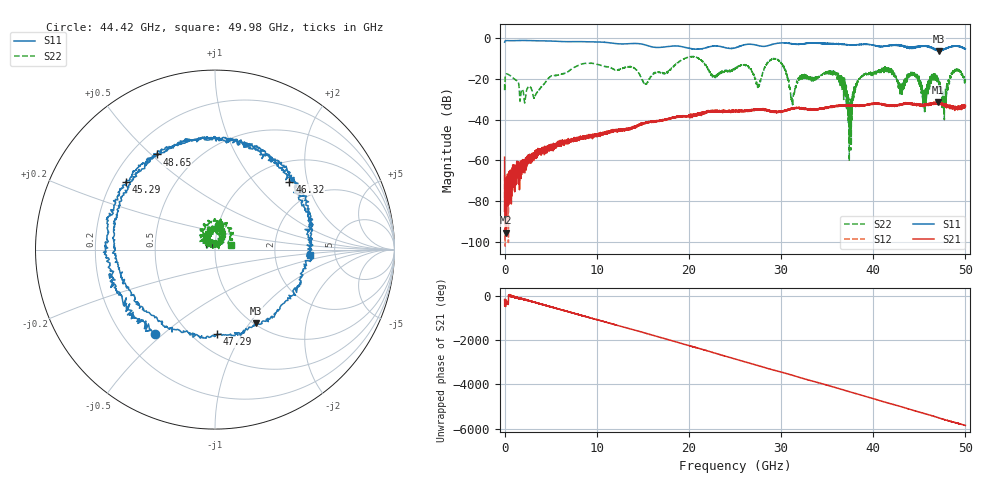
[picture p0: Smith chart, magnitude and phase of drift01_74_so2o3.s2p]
!Created with skrf (http://scikit-rf.org).
# Hz S RI R 50.0
!freq ReS11 ImS11 ReS21 ImS21 ReS12 ImS12 ReS22 ImS22
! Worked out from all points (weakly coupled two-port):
!   10001 points, 300 kHz to 50 GHz, reference 50 ohm
!   highest |S21| = -31.41 dB at 47.04 GHz (marker M1); lowest = -95.3 dB at 120.3 MHz (marker M2)
!   lowest |S11| = -6.5 dB at 47.1 GHz (marker M3), VSWR 2.78, Z = 51.1 - j54 ohm
!   |S11| at or under -10 dB: nowhere
!   |S22| runs from -60.3 to -9.2 dB; largest |S21 - S12| = 0.0034
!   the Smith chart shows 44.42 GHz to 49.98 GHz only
!   S11 on the Smith chart (normalised r, x): 44.42 GHz: 0.33, -0.47; 45.29 GHz: 0.26, +0.31; 46.32 GHz: 1.41, +1.56; 47.29 GHz: 0.65, -0.79; 48.65 GHz: 0.30, +0.52; 49.98 GHz: 3.25, -0.25
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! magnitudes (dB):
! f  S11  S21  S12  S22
! 300 kHz  -2.2  -58.5  -67.3  -22.8
! 120.3 MHz  -1.5  -95.3  -79.4  -18.1
! 3.29 GHz  -1.5  -57.2  -56.8  -28.8
! 8.335 GHz  -1.9  -49.0  -49.1  -12.9
! 16.67 GHz  -4.8  -40.8  -40.9  -16.7
! 25 GHz  -5.0  -35.8  -35.8  -15.3
! 29.58 GHz  -2.8  -35.9  -36.4  -10.7
! 31.23 GHz  -3.0  -34.5  -34.6  -32.5
! 33.34 GHz  -2.6  -35.0  -35.0  -20.5
! 36.12 GHz  -3.2  -33.1  -33.2  -19.4
! 37.47 GHz  -3.6  -33.0  -33.1  -37.0
! 38.66 GHz  -3.4  -33.3  -33.2  -19.1
! 41.67 GHz  -3.8  -33.3  -33.2  -16.2
! 44.42 GHz  -4.8  -32.7  -32.8  -17.3
! 45.29 GHz  -4.1  -33.2  -32.8  -24.9
! 46.32 GHz  -5.0  -32.1  -32.3  -19.2
! 47.04 GHz  -6.2  -31.4  -32.2  -19.7
! 47.1 GHz  -6.5  -32.4  -32.0  -21.8
! 47.29 GHz  -6.5  -32.4  -32.5  -25.2
! 48.65 GHz  -4.1  -33.5  -34.0  -16.4
! 49.98 GHz  -5.5  -33.5  -33.3  -20.6
! 50 GHz  -5.5  -33.1  -33.7  -21.0
